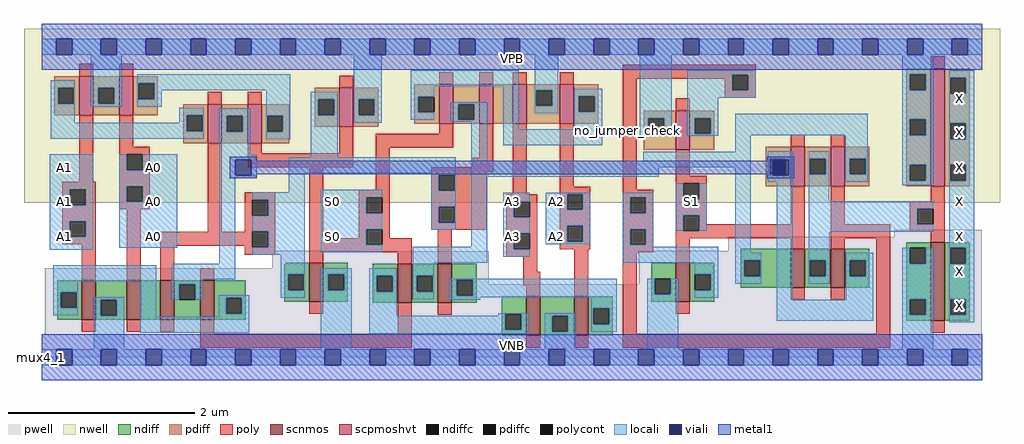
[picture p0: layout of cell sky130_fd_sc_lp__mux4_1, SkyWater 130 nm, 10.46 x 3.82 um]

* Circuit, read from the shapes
.subckt sky130_fd_sc_lp__mux4_1 A0 A1 A2 A3 S0 S1 VGND VNB VPB VPWR X
XM1 VGND A1 n1 VNB sky130_fd_pr__nfet_01v8 w=0.42 l=0.15
XM2 n2 A0 VGND VNB sky130_fd_pr__nfet_01v8 w=0.42 l=0.15
XM3 n3 n4 n2 VNB sky130_fd_pr__nfet_01v8 w=0.42 l=0.15
XM4 n1 S0 n3 VNB sky130_fd_pr__nfet_01v8 w=0.42 l=0.15
XM5 VGND S0 n4 VNB sky130_fd_pr__nfet_01v8 w=0.42 l=0.15
XM6 n5 S0 n6 VNB sky130_fd_pr__nfet_01v8 w=0.42 l=0.15
XM7 n7 n4 n5 VNB sky130_fd_pr__nfet_01v8 w=0.42 l=0.15
XM8 VGND A3 n6 VNB sky130_fd_pr__nfet_01v8 w=0.42 l=0.15
XM9 n7 A2 VGND VNB sky130_fd_pr__nfet_01v8 w=0.42 l=0.15
XM10 n8 S1 VGND VNB sky130_fd_pr__nfet_01v8 w=0.42 l=0.15
XM11 n9 S1 n5 VNB sky130_fd_pr__nfet_01v8 w=0.42 l=0.15
XM12 n3 n8 n9 VNB sky130_fd_pr__nfet_01v8 w=0.42 l=0.15
XM13 X n9 VGND VNB sky130_fd_pr__nfet_01v8 w=0.84 l=0.15
XM14 VPWR A1 n10 VPB sky130_fd_pr__pfet_01v8_hvt w=0.42 l=0.15
XM15 n11 A0 VPWR VPB sky130_fd_pr__pfet_01v8_hvt w=0.42 l=0.15
XM16 n3 n4 n10 VPB sky130_fd_pr__pfet_01v8_hvt w=0.42 l=0.15
XM17 n11 S0 n3 VPB sky130_fd_pr__pfet_01v8_hvt w=0.42 l=0.15
XM18 VPWR S0 n4 VPB sky130_fd_pr__pfet_01v8_hvt w=0.42 l=0.15
XM19 n5 S0 n12 VPB sky130_fd_pr__pfet_01v8_hvt w=0.42 l=0.15
XM20 n13 n4 n5 VPB sky130_fd_pr__pfet_01v8_hvt w=0.42 l=0.15
XM21 VPWR A3 n13 VPB sky130_fd_pr__pfet_01v8_hvt w=0.42 l=0.15
XM22 n12 A2 VPWR VPB sky130_fd_pr__pfet_01v8_hvt w=0.42 l=0.15
XM23 n8 S1 VPWR VPB sky130_fd_pr__pfet_01v8_hvt w=0.42 l=0.15
XM24 n9 S1 n3 VPB sky130_fd_pr__pfet_01v8_hvt w=0.42 l=0.15
XM25 n5 n8 n9 VPB sky130_fd_pr__pfet_01v8_hvt w=0.42 l=0.15
XM26 X n9 VPWR VPB sky130_fd_pr__pfet_01v8_hvt w=1.26 l=0.15
.ends

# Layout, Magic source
magic
tech sky130A
magscale 1 2
<< nwell >>
rect -38 331 2054 704
<< pwell >>
rect 1827 259 2015 273
rect 1472 229 2015 259
rect 497 227 682 229
rect 497 224 958 227
rect 494 191 958 224
rect 7 157 958 191
rect 1280 157 2015 229
rect 7 49 2015 157
rect 0 0 2016 49
<< scnmos >>
rect 86 81 116 165
rect 182 81 212 165
rect 254 81 284 165
rect 340 81 370 165
rect 573 119 603 203
rect 763 117 793 201
rect 849 117 879 201
rect 1039 47 1069 131
rect 1141 47 1171 131
rect 1359 119 1389 203
rect 1605 149 1635 233
rect 1691 149 1721 233
rect 1906 79 1936 247
<< scpmoshvt >>
rect 80 519 110 603
rect 166 519 196 603
rect 356 459 386 543
rect 442 459 472 543
rect 638 494 668 578
rect 852 501 882 585
rect 938 501 968 585
rect 1010 501 1040 585
rect 1110 501 1140 585
rect 1359 445 1389 529
rect 1605 367 1635 451
rect 1691 367 1721 451
rect 1906 367 1936 619
<< ndiff >>
rect 523 198 573 203
rect 520 178 573 198
rect 33 140 86 165
rect 33 106 41 140
rect 75 106 86 140
rect 33 81 86 106
rect 116 123 182 165
rect 116 89 127 123
rect 161 89 182 123
rect 116 81 182 89
rect 212 81 254 165
rect 284 157 340 165
rect 284 123 295 157
rect 329 123 340 157
rect 284 81 340 123
rect 370 128 437 165
rect 370 94 395 128
rect 429 94 437 128
rect 520 144 528 178
rect 562 144 573 178
rect 520 119 573 144
rect 603 178 656 203
rect 603 144 614 178
rect 648 144 656 178
rect 603 119 656 144
rect 710 175 763 201
rect 710 141 718 175
rect 752 141 763 175
rect 370 81 437 94
rect 710 117 763 141
rect 793 175 849 201
rect 793 141 804 175
rect 838 141 849 175
rect 793 117 849 141
rect 879 166 932 201
rect 879 132 890 166
rect 924 132 932 166
rect 879 117 932 132
rect 986 93 1039 131
rect 986 59 994 93
rect 1028 59 1039 93
rect 986 47 1039 59
rect 1069 89 1141 131
rect 1069 55 1094 89
rect 1128 55 1141 89
rect 1069 47 1141 55
rect 1171 105 1224 131
rect 1171 71 1182 105
rect 1216 71 1224 105
rect 1171 47 1224 71
rect 1498 208 1605 233
rect 1306 169 1359 203
rect 1306 135 1314 169
rect 1348 135 1359 169
rect 1306 119 1359 135
rect 1389 178 1442 203
rect 1389 144 1400 178
rect 1434 144 1442 178
rect 1498 174 1506 208
rect 1540 174 1605 208
rect 1498 149 1605 174
rect 1635 208 1691 233
rect 1635 174 1646 208
rect 1680 174 1691 208
rect 1635 149 1691 174
rect 1721 208 1774 233
rect 1721 174 1732 208
rect 1766 174 1774 208
rect 1721 149 1774 174
rect 1389 119 1442 144
rect 1853 235 1906 247
rect 1853 201 1861 235
rect 1895 201 1906 235
rect 1853 125 1906 201
rect 1853 91 1861 125
rect 1895 91 1906 125
rect 1853 79 1906 91
rect 1936 235 1989 247
rect 1936 201 1947 235
rect 1981 201 1989 235
rect 1936 125 1989 201
rect 1936 91 1947 125
rect 1981 91 1989 125
rect 1936 79 1989 91
<< pdiff >>
rect 27 578 80 603
rect 27 544 35 578
rect 69 544 80 578
rect 27 519 80 544
rect 110 578 166 603
rect 110 544 121 578
rect 155 544 166 578
rect 110 519 166 544
rect 196 587 249 603
rect 196 553 207 587
rect 241 553 249 587
rect 196 519 249 553
rect 585 553 638 578
rect 303 519 356 543
rect 303 485 311 519
rect 345 485 356 519
rect 303 459 356 485
rect 386 518 442 543
rect 386 484 397 518
rect 431 484 442 518
rect 386 459 442 484
rect 472 518 531 543
rect 472 484 483 518
rect 517 484 531 518
rect 585 519 593 553
rect 627 519 638 553
rect 585 494 638 519
rect 668 553 721 578
rect 668 519 679 553
rect 713 519 721 553
rect 668 494 721 519
rect 799 559 852 585
rect 799 525 807 559
rect 841 525 852 559
rect 799 501 852 525
rect 882 543 938 585
rect 882 509 893 543
rect 927 509 938 543
rect 882 501 938 509
rect 968 501 1010 585
rect 1040 573 1110 585
rect 1040 539 1060 573
rect 1094 539 1110 573
rect 1040 501 1110 539
rect 1140 560 1193 585
rect 1140 526 1151 560
rect 1185 526 1193 560
rect 1140 501 1193 526
rect 472 459 531 484
rect 1853 607 1906 619
rect 1853 573 1861 607
rect 1895 573 1906 607
rect 1290 513 1359 529
rect 1290 479 1300 513
rect 1334 479 1359 513
rect 1290 445 1359 479
rect 1389 513 1442 529
rect 1389 479 1400 513
rect 1434 479 1442 513
rect 1389 445 1442 479
rect 1853 510 1906 573
rect 1853 476 1861 510
rect 1895 476 1906 510
rect 1552 426 1605 451
rect 1552 392 1560 426
rect 1594 392 1605 426
rect 1552 367 1605 392
rect 1635 426 1691 451
rect 1635 392 1646 426
rect 1680 392 1691 426
rect 1635 367 1691 392
rect 1721 426 1774 451
rect 1721 392 1732 426
rect 1766 392 1774 426
rect 1721 367 1774 392
rect 1853 413 1906 476
rect 1853 379 1861 413
rect 1895 379 1906 413
rect 1853 367 1906 379
rect 1936 599 1989 619
rect 1936 565 1947 599
rect 1981 565 1989 599
rect 1936 502 1989 565
rect 1936 468 1947 502
rect 1981 468 1989 502
rect 1936 413 1989 468
rect 1936 379 1947 413
rect 1981 379 1989 413
rect 1936 367 1989 379
<< ndiffc >>
rect 41 106 75 140
rect 127 89 161 123
rect 295 123 329 157
rect 395 94 429 128
rect 528 144 562 178
rect 614 144 648 178
rect 718 141 752 175
rect 804 141 838 175
rect 890 132 924 166
rect 994 59 1028 93
rect 1094 55 1128 89
rect 1182 71 1216 105
rect 1314 135 1348 169
rect 1400 144 1434 178
rect 1506 174 1540 208
rect 1646 174 1680 208
rect 1732 174 1766 208
rect 1861 201 1895 235
rect 1861 91 1895 125
rect 1947 201 1981 235
rect 1947 91 1981 125
<< pdiffc >>
rect 35 544 69 578
rect 121 544 155 578
rect 207 553 241 587
rect 311 485 345 519
rect 397 484 431 518
rect 483 484 517 518
rect 593 519 627 553
rect 679 519 713 553
rect 807 525 841 559
rect 893 509 927 543
rect 1060 539 1094 573
rect 1151 526 1185 560
rect 1861 573 1895 607
rect 1300 479 1334 513
rect 1400 479 1434 513
rect 1861 476 1895 510
rect 1560 392 1594 426
rect 1646 392 1680 426
rect 1732 392 1766 426
rect 1861 379 1895 413
rect 1947 565 1981 599
rect 1947 468 1981 502
rect 1947 379 1981 413
<< poly >>
rect 80 603 110 629
rect 166 603 196 629
rect 638 578 668 604
rect 852 585 882 611
rect 938 585 968 611
rect 1010 585 1040 611
rect 1110 585 1140 611
rect 1245 606 1530 627
rect 1906 619 1936 645
rect 1245 597 1480 606
rect 356 543 386 569
rect 442 543 472 569
rect 80 376 110 519
rect 166 451 196 519
rect 166 435 232 451
rect 166 401 182 435
rect 216 401 232 435
rect 44 360 116 376
rect 44 326 60 360
rect 94 326 116 360
rect 44 292 116 326
rect 166 367 232 401
rect 166 333 182 367
rect 216 333 232 367
rect 166 317 232 333
rect 44 258 60 292
rect 94 258 116 292
rect 44 242 116 258
rect 86 165 116 242
rect 182 165 212 317
rect 356 269 386 459
rect 442 437 472 459
rect 638 437 668 494
rect 852 479 882 501
rect 442 407 668 437
rect 716 449 882 479
rect 435 338 501 354
rect 435 304 451 338
rect 485 304 501 338
rect 435 270 501 304
rect 435 269 451 270
rect 254 239 451 269
rect 254 165 284 239
rect 435 236 451 239
rect 485 236 501 270
rect 435 220 501 236
rect 573 255 603 407
rect 716 359 746 449
rect 938 428 968 501
rect 924 407 968 428
rect 680 343 746 359
rect 680 309 696 343
rect 730 309 746 343
rect 680 275 746 309
rect 680 255 696 275
rect 573 241 696 255
rect 730 255 746 275
rect 835 398 968 407
rect 835 391 954 398
rect 835 357 851 391
rect 885 357 954 391
rect 835 323 954 357
rect 1010 350 1040 501
rect 1110 366 1140 501
rect 1110 350 1176 366
rect 835 289 851 323
rect 885 289 954 323
rect 835 273 954 289
rect 996 334 1062 350
rect 996 300 1012 334
rect 1046 300 1062 334
rect 730 241 793 255
rect 573 225 793 241
rect 573 203 603 225
rect 340 165 370 191
rect 763 201 793 225
rect 849 201 879 273
rect 996 266 1062 300
rect 996 232 1012 266
rect 1046 232 1062 266
rect 1110 316 1126 350
rect 1160 316 1176 350
rect 1110 282 1176 316
rect 1110 248 1126 282
rect 1160 248 1176 282
rect 1110 232 1176 248
rect 1245 359 1275 597
rect 1464 572 1480 597
rect 1514 572 1530 606
rect 1464 556 1530 572
rect 1359 529 1389 555
rect 1605 451 1635 477
rect 1691 451 1721 477
rect 1359 389 1389 445
rect 1359 373 1425 389
rect 1245 343 1311 359
rect 1245 309 1261 343
rect 1295 309 1311 343
rect 1245 275 1311 309
rect 1245 241 1261 275
rect 1295 241 1311 275
rect 996 216 1062 232
rect 573 93 603 119
rect 1032 184 1062 216
rect 1032 154 1069 184
rect 1039 131 1069 154
rect 1141 131 1171 232
rect 1245 225 1311 241
rect 1359 339 1375 373
rect 1409 339 1425 373
rect 1359 305 1425 339
rect 1359 271 1375 305
rect 1409 285 1425 305
rect 1605 285 1635 367
rect 1409 271 1635 285
rect 1359 255 1635 271
rect 86 55 116 81
rect 182 55 212 81
rect 254 55 284 81
rect 340 51 370 81
rect 763 51 793 117
rect 849 91 879 117
rect 340 21 793 51
rect 1245 51 1275 225
rect 1359 203 1389 255
rect 1605 233 1635 255
rect 1691 285 1721 367
rect 1906 335 1936 367
rect 1861 319 1936 335
rect 1861 285 1877 319
rect 1911 285 1936 319
rect 1691 255 1819 285
rect 1861 269 1936 285
rect 1691 233 1721 255
rect 1605 123 1635 149
rect 1691 123 1721 149
rect 1359 93 1389 119
rect 1789 51 1819 255
rect 1906 247 1936 269
rect 1906 53 1936 79
rect 1039 21 1069 47
rect 1141 21 1171 47
rect 1245 21 1819 51
<< polycont >>
rect 182 401 216 435
rect 60 326 94 360
rect 182 333 216 367
rect 60 258 94 292
rect 451 304 485 338
rect 451 236 485 270
rect 696 309 730 343
rect 696 241 730 275
rect 851 357 885 391
rect 851 289 885 323
rect 1012 300 1046 334
rect 1012 232 1046 266
rect 1126 316 1160 350
rect 1126 248 1160 282
rect 1480 572 1514 606
rect 1261 309 1295 343
rect 1261 241 1295 275
rect 1375 339 1409 373
rect 1375 271 1409 305
rect 1877 285 1911 319
<< locali >>
rect 0 649 31 683
rect 65 649 127 683
rect 161 649 223 683
rect 257 649 319 683
rect 353 649 415 683
rect 449 649 511 683
rect 545 649 607 683
rect 641 649 703 683
rect 737 649 799 683
rect 833 649 895 683
rect 929 649 991 683
rect 1025 649 1087 683
rect 1121 649 1183 683
rect 1217 649 1279 683
rect 1313 649 1375 683
rect 1409 649 1471 683
rect 1505 649 1567 683
rect 1601 649 1663 683
rect 1697 649 1759 683
rect 1793 649 1855 683
rect 1889 649 1951 683
rect 1985 649 2016 683
rect 19 578 71 594
rect 19 544 35 578
rect 69 544 71 578
rect 19 503 71 544
rect 105 578 171 649
rect 105 544 121 578
rect 155 544 171 578
rect 105 537 171 544
rect 205 587 533 607
rect 205 553 207 587
rect 241 573 533 587
rect 241 553 257 573
rect 205 537 257 553
rect 295 519 347 535
rect 295 503 311 519
rect 19 485 311 503
rect 345 485 347 519
rect 19 469 347 485
rect 381 518 447 534
rect 381 484 397 518
rect 431 484 447 518
rect 17 360 110 435
rect 17 326 60 360
rect 94 326 110 360
rect 17 292 110 326
rect 17 258 60 292
rect 94 258 110 292
rect 17 231 110 258
rect 166 401 182 435
rect 216 401 290 435
rect 166 367 290 401
rect 166 333 182 367
rect 216 333 290 367
rect 166 235 290 333
rect 381 434 447 484
rect 481 518 533 573
rect 481 484 483 518
rect 517 484 533 518
rect 481 468 533 484
rect 577 553 635 569
rect 577 519 593 553
rect 627 519 635 553
rect 381 424 461 434
rect 577 429 635 519
rect 669 553 729 649
rect 669 519 679 553
rect 713 519 729 553
rect 669 503 729 519
rect 791 581 1023 615
rect 791 559 841 581
rect 791 525 807 559
rect 791 509 841 525
rect 877 543 955 547
rect 877 509 893 543
rect 927 509 955 543
rect 877 505 955 509
rect 381 390 415 424
rect 449 390 461 424
rect 381 388 461 390
rect 530 395 887 429
rect 381 201 415 388
rect 530 354 564 395
rect 835 391 887 395
rect 451 338 564 354
rect 485 304 564 338
rect 451 270 564 304
rect 485 236 564 270
rect 451 220 564 236
rect 598 343 730 359
rect 598 309 696 343
rect 598 275 730 309
rect 598 241 696 275
rect 835 357 851 391
rect 885 357 887 391
rect 835 323 887 357
rect 835 289 851 323
rect 885 289 887 323
rect 835 273 887 289
rect 921 421 955 505
rect 989 489 1023 581
rect 1057 573 1107 649
rect 1057 539 1060 573
rect 1094 539 1107 573
rect 1057 523 1107 539
rect 1141 560 1201 576
rect 1141 526 1151 560
rect 1185 526 1201 560
rect 1141 489 1201 526
rect 989 455 1201 489
rect 1282 513 1350 649
rect 1282 479 1300 513
rect 1334 479 1350 513
rect 1282 475 1350 479
rect 1384 606 1530 615
rect 1384 572 1480 606
rect 1514 572 1530 606
rect 1384 556 1530 572
rect 1845 607 1911 649
rect 1845 573 1861 607
rect 1895 573 1911 607
rect 1384 513 1450 556
rect 1384 479 1400 513
rect 1434 479 1450 513
rect 1384 475 1450 479
rect 1486 476 1770 522
rect 1486 441 1520 476
rect 1289 421 1520 441
rect 921 407 1520 421
rect 921 387 1323 407
rect 598 225 730 241
rect 921 237 955 387
rect 25 163 245 197
rect 25 140 77 163
rect 25 106 41 140
rect 75 106 77 140
rect 25 90 77 106
rect 111 123 177 129
rect 111 89 127 123
rect 161 89 177 123
rect 111 17 177 89
rect 211 87 245 163
rect 279 167 415 201
rect 512 178 564 220
rect 795 203 955 237
rect 989 334 1046 353
rect 989 300 1012 334
rect 989 266 1046 300
rect 989 232 1012 266
rect 1080 350 1176 353
rect 1080 316 1126 350
rect 1160 316 1176 350
rect 1080 282 1176 316
rect 1080 248 1126 282
rect 1160 248 1176 282
rect 1080 242 1176 248
rect 1245 343 1311 353
rect 1245 309 1261 343
rect 1295 309 1311 343
rect 1245 275 1311 309
rect 989 216 1046 232
rect 1245 241 1261 275
rect 1295 241 1311 275
rect 1359 339 1375 373
rect 1409 339 1425 373
rect 1359 305 1425 339
rect 1359 271 1375 305
rect 1409 271 1425 305
rect 1245 237 1311 241
rect 1245 203 1450 237
rect 279 157 345 167
rect 279 123 295 157
rect 329 123 345 157
rect 512 144 528 178
rect 562 144 564 178
rect 379 128 445 133
rect 512 128 564 144
rect 598 178 664 191
rect 598 144 614 178
rect 648 144 664 178
rect 379 94 395 128
rect 429 94 445 128
rect 379 87 445 94
rect 211 53 445 87
rect 598 17 664 144
rect 702 175 761 191
rect 702 141 718 175
rect 752 141 761 175
rect 702 89 761 141
rect 795 175 840 203
rect 795 141 804 175
rect 838 141 840 175
rect 1400 178 1450 203
rect 795 125 840 141
rect 874 166 1232 169
rect 874 132 890 166
rect 924 132 1232 166
rect 874 129 1232 132
rect 874 123 940 129
rect 1178 105 1232 129
rect 978 93 1044 95
rect 978 89 994 93
rect 702 59 994 89
rect 1028 59 1044 93
rect 702 51 1044 59
rect 1078 89 1144 95
rect 1078 55 1094 89
rect 1128 55 1144 89
rect 1178 71 1182 105
rect 1216 71 1232 105
rect 1178 55 1232 71
rect 1298 135 1314 169
rect 1348 135 1364 169
rect 1078 17 1144 55
rect 1298 17 1364 135
rect 1434 144 1450 178
rect 1486 224 1520 407
rect 1556 426 1610 442
rect 1556 392 1560 426
rect 1594 424 1610 426
rect 1556 390 1567 392
rect 1601 390 1610 424
rect 1556 376 1610 390
rect 1486 208 1542 224
rect 1486 174 1506 208
rect 1540 174 1542 208
rect 1486 158 1542 174
rect 1400 128 1450 144
rect 1576 124 1610 376
rect 1644 426 1688 442
rect 1644 392 1646 426
rect 1680 392 1688 426
rect 1644 335 1688 392
rect 1722 426 1770 476
rect 1722 392 1732 426
rect 1766 392 1770 426
rect 1722 376 1770 392
rect 1845 510 1911 573
rect 1845 476 1861 510
rect 1895 476 1911 510
rect 1845 413 1911 476
rect 1845 379 1861 413
rect 1895 379 1911 413
rect 1845 369 1911 379
rect 1945 599 1999 615
rect 1945 565 1947 599
rect 1981 565 1999 599
rect 1945 502 1999 565
rect 1945 468 1947 502
rect 1981 468 1999 502
rect 1945 413 1999 468
rect 1945 379 1947 413
rect 1981 379 1999 413
rect 1644 319 1911 335
rect 1644 285 1877 319
rect 1644 269 1911 285
rect 1644 208 1689 269
rect 1945 235 1999 379
rect 1644 174 1646 208
rect 1680 174 1689 208
rect 1644 158 1689 174
rect 1723 208 1782 224
rect 1723 174 1732 208
rect 1766 174 1782 208
rect 1723 124 1782 174
rect 1576 78 1782 124
rect 1845 201 1861 235
rect 1895 201 1911 235
rect 1845 125 1911 201
rect 1845 91 1861 125
rect 1895 91 1911 125
rect 1845 17 1911 91
rect 1945 201 1947 235
rect 1981 201 1999 235
rect 1945 125 1999 201
rect 1945 91 1947 125
rect 1981 91 1999 125
rect 1945 75 1999 91
rect 0 -17 31 17
rect 65 -17 127 17
rect 161 -17 223 17
rect 257 -17 319 17
rect 353 -17 415 17
rect 449 -17 511 17
rect 545 -17 607 17
rect 641 -17 703 17
rect 737 -17 799 17
rect 833 -17 895 17
rect 929 -17 991 17
rect 1025 -17 1087 17
rect 1121 -17 1183 17
rect 1217 -17 1279 17
rect 1313 -17 1375 17
rect 1409 -17 1471 17
rect 1505 -17 1567 17
rect 1601 -17 1663 17
rect 1697 -17 1759 17
rect 1793 -17 1855 17
rect 1889 -17 1951 17
rect 1985 -17 2016 17
<< viali >>
rect 31 649 65 683
rect 127 649 161 683
rect 223 649 257 683
rect 319 649 353 683
rect 415 649 449 683
rect 511 649 545 683
rect 607 649 641 683
rect 703 649 737 683
rect 799 649 833 683
rect 895 649 929 683
rect 991 649 1025 683
rect 1087 649 1121 683
rect 1183 649 1217 683
rect 1279 649 1313 683
rect 1375 649 1409 683
rect 1471 649 1505 683
rect 1567 649 1601 683
rect 1663 649 1697 683
rect 1759 649 1793 683
rect 1855 649 1889 683
rect 1951 649 1985 683
rect 415 390 449 424
rect 1567 392 1594 424
rect 1594 392 1601 424
rect 1567 390 1601 392
rect 31 -17 65 17
rect 127 -17 161 17
rect 223 -17 257 17
rect 319 -17 353 17
rect 415 -17 449 17
rect 511 -17 545 17
rect 607 -17 641 17
rect 703 -17 737 17
rect 799 -17 833 17
rect 895 -17 929 17
rect 991 -17 1025 17
rect 1087 -17 1121 17
rect 1183 -17 1217 17
rect 1279 -17 1313 17
rect 1375 -17 1409 17
rect 1471 -17 1505 17
rect 1567 -17 1601 17
rect 1663 -17 1697 17
rect 1759 -17 1793 17
rect 1855 -17 1889 17
rect 1951 -17 1985 17
<< metal1 >>
rect 0 683 2016 715
rect 0 649 31 683
rect 65 649 127 683
rect 161 649 223 683
rect 257 649 319 683
rect 353 649 415 683
rect 449 649 511 683
rect 545 649 607 683
rect 641 649 703 683
rect 737 649 799 683
rect 833 649 895 683
rect 929 649 991 683
rect 1025 649 1087 683
rect 1121 649 1183 683
rect 1217 649 1279 683
rect 1313 649 1375 683
rect 1409 649 1471 683
rect 1505 649 1567 683
rect 1601 649 1663 683
rect 1697 649 1759 683
rect 1793 649 1855 683
rect 1889 649 1951 683
rect 1985 649 2016 683
rect 0 617 2016 649
rect 403 424 461 430
rect 403 390 415 424
rect 449 421 461 424
rect 1555 424 1613 430
rect 1555 421 1567 424
rect 449 393 1567 421
rect 449 390 461 393
rect 403 384 461 390
rect 1555 390 1567 393
rect 1601 390 1613 424
rect 1555 384 1613 390
rect 0 17 2016 49
rect 0 -17 31 17
rect 65 -17 127 17
rect 161 -17 223 17
rect 257 -17 319 17
rect 353 -17 415 17
rect 449 -17 511 17
rect 545 -17 607 17
rect 641 -17 703 17
rect 737 -17 799 17
rect 833 -17 895 17
rect 929 -17 991 17
rect 1025 -17 1087 17
rect 1121 -17 1183 17
rect 1217 -17 1279 17
rect 1313 -17 1375 17
rect 1409 -17 1471 17
rect 1505 -17 1567 17
rect 1601 -17 1663 17
rect 1697 -17 1759 17
rect 1793 -17 1855 17
rect 1889 -17 1951 17
rect 1985 -17 2016 17
rect 0 -49 2016 -17
<< labels >>
flabel pwell s 0 0 2016 49 0 FreeSans 200 0 0 0 VNB
port 8 nsew ground bidirectional
flabel nwell s 0 617 2016 666 0 FreeSans 200 0 0 0 VPB
port 9 nsew power bidirectional
rlabel comment s 0 0 0 0 4 mux4_1
flabel comment s 1256 486 1256 486 0 FreeSans 200 90 0 0 no_jumper_check
flabel metal1 s 0 617 2016 666 0 FreeSans 340 0 0 0 VPWR
port 10 nsew power bidirectional
flabel metal1 s 0 0 2016 49 0 FreeSans 340 0 0 0 VGND
port 7 nsew ground bidirectional
flabel locali s 223 242 257 276 0 FreeSans 340 0 0 0 A0
port 1 nsew signal input
flabel locali s 223 316 257 350 0 FreeSans 340 0 0 0 A0
port 1 nsew signal input
flabel locali s 223 390 257 424 0 FreeSans 340 0 0 0 A0
port 1 nsew signal input
flabel locali s 607 242 641 276 0 FreeSans 340 0 0 0 S0
port 5 nsew signal input
flabel locali s 607 316 641 350 0 FreeSans 340 0 0 0 S0
port 5 nsew signal input
flabel locali s 31 242 65 276 0 FreeSans 340 0 0 0 A1
port 2 nsew signal input
flabel locali s 31 316 65 350 0 FreeSans 340 0 0 0 A1
port 2 nsew signal input
flabel locali s 31 390 65 424 0 FreeSans 340 0 0 0 A1
port 2 nsew signal input
flabel locali s 1087 242 1121 276 0 FreeSans 340 0 0 0 A2
port 3 nsew signal input
flabel locali s 1087 316 1121 350 0 FreeSans 340 0 0 0 A2
port 3 nsew signal input
flabel locali s 991 242 1025 276 0 FreeSans 340 0 0 0 A3
port 4 nsew signal input
flabel locali s 991 316 1025 350 0 FreeSans 340 0 0 0 A3
port 4 nsew signal input
flabel locali s 1375 316 1409 350 0 FreeSans 340 0 0 0 S1
port 6 nsew signal input
flabel locali s 1951 94 1985 128 0 FreeSans 340 0 0 0 X
port 11 nsew signal output
flabel locali s 1951 168 1985 202 0 FreeSans 340 0 0 0 X
port 11 nsew signal output
flabel locali s 1951 242 1985 276 0 FreeSans 340 0 0 0 X
port 11 nsew signal output
flabel locali s 1951 316 1985 350 0 FreeSans 340 0 0 0 X
port 11 nsew signal output
flabel locali s 1951 390 1985 424 0 FreeSans 340 0 0 0 X
port 11 nsew signal output
flabel locali s 1951 464 1985 498 0 FreeSans 340 0 0 0 X
port 11 nsew signal output
flabel locali s 1951 538 1985 572 0 FreeSans 340 0 0 0 X
port 11 nsew signal output
<< properties >>
string LEFsite unit
string LEFclass CORE
string FIXED_BBOX 0 0 2016 666
string GDS_FILE $PDKPATH/libs.ref/sky130_fd_sc_lp/gds/sky130_fd_sc_lp.gds
string LEFsymmetry X Y R90
string GDS_END 1522152
string GDS_START 1505708
<< end >>
